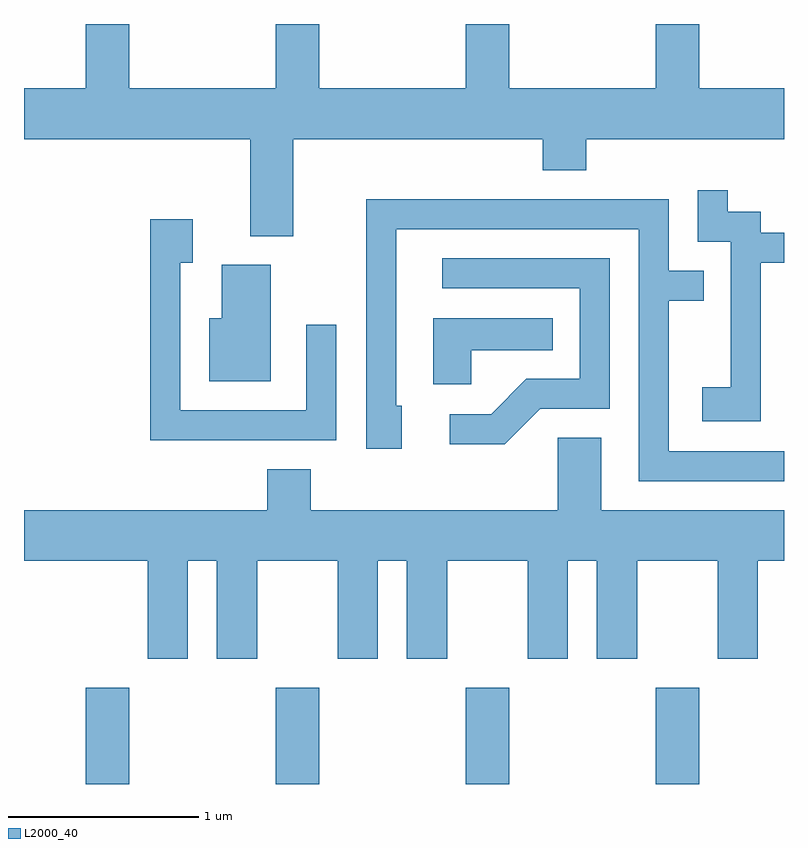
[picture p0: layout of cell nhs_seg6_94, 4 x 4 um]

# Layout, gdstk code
import gdstk
lib = gdstk.Library(unit=1e-6, precision=1e-09)
def R(c, l, rs):  # rectangles x0, y0, x1, y1
    for r in rs: c.add(gdstk.rectangle(r[:2], r[2:], *l))
def A(c, l, x, y, w, h, nx, ny, dx, dy):  # array of equal rectangles
    R(c, l, [(x+i*dx, y+j*dy, x+i*dx+w, y+j*dy+h) for i in range(nx) for j in range(ny)])
def P(c, l, *ps):  # polygons
    for p in ps: c.add(gdstk.Polygon(p, *l))
L2000_40 = (2000, 40)

nhs_seg6_94 = lib.new_cell('nhs_seg6_94')
A(nhs_seg6_94, L2000_40, 187.936, 1582.162, 0.228, 0.507, 4, 1, 1, 0)
P(nhs_seg6_94, L2000_40, [(189.029,1585.556),(190.341,1585.556),(190.341,1585.391),(190.569,1585.391),(190.569,1585.556),(191.611,1585.556),(191.611,1585.824),(191.164,1585.824),(191.164,1586.162),(190.936,1586.162),(190.936,1585.824),(190.164,1585.824),(190.164,1586.162),(189.936,1586.162),(189.936,1585.824),(189.164,1585.824),(189.164,1586.162),(188.936,1586.162),(188.936,1585.824),(188.164,1585.824),(188.164,1586.162),(187.936,1586.162),(187.936,1585.824),(187.611,1585.824),(187.611,1585.556),(188.801,1585.556),(188.801,1585.046),(189.029,1585.046)],
  [(191.489,1584.906),(191.611,1584.906),(191.611,1585.064),(191.489,1585.064),(191.489,1585.174),(191.314,1585.174),(191.314,1585.288),(191.156,1585.288),(191.156,1585.016),(191.331,1585.016),(191.331,1584.249),(191.181,1584.249),(191.181,1584.071),(191.489,1584.071)],
  [(191.611,1583.914),(191.004,1583.914),(191.004,1584.706),(191.188,1584.706),(191.188,1584.864),(191.004,1584.864),(191.004,1585.239),(189.411,1585.239),(189.411,1583.926),(189.599,1583.926),(189.599,1584.154),(189.569,1584.154),(189.569,1585.081),(190.846,1585.081),(190.846,1583.756),(191.611,1583.756)],
  [(189.254,1584.578),(189.096,1584.578),(189.096,1584.129),(188.434,1584.129),(188.434,1584.906),(188.499,1584.906),(188.499,1585.134),(188.276,1585.134),(188.276,1583.971),(189.254,1583.971)],
  [(190.327,1584.136),(190.694,1584.136),(190.694,1584.929),(189.813,1584.929),(189.813,1584.771),(190.536,1584.771),(190.536,1584.294),(190.254,1584.294),(190.069,1584.109),(189.853,1584.109),(189.853,1583.951),(190.142,1583.951)],
  [(188.909,1584.894),(188.651,1584.894),(188.651,1584.614),(188.586,1584.614),(188.586,1584.281),(188.909,1584.281)],
  [(189.964,1584.446),(190.393,1584.446),(190.393,1584.614),(189.766,1584.614),(189.766,1584.266),(189.964,1584.266)],
  [(188.474,1583.336),(188.626,1583.336),(188.626,1582.821),(188.839,1582.821),(188.839,1583.336),(189.261,1583.336),(189.261,1582.821),(189.474,1582.821),(189.474,1583.336),(189.626,1583.336),(189.626,1582.821),(189.839,1582.821),(189.839,1583.336),(190.261,1583.336),(190.261,1582.821),(190.474,1582.821),(190.474,1583.336),(190.626,1583.336),(190.626,1582.821),(190.839,1582.821),(190.839,1583.336),(191.261,1583.336),(191.261,1582.821),(191.474,1582.821),(191.474,1583.336),(191.611,1583.336),(191.611,1583.604),(190.649,1583.604),(190.649,1583.984),(190.421,1583.984),(190.421,1583.604),(189.119,1583.604),(189.119,1583.819),(188.891,1583.819),(188.891,1583.604),(187.611,1583.604),(187.611,1583.336),(188.261,1583.336),(188.261,1582.821),(188.474,1582.821)])

lib.write_gds('nhs_seg6_94.gds')
